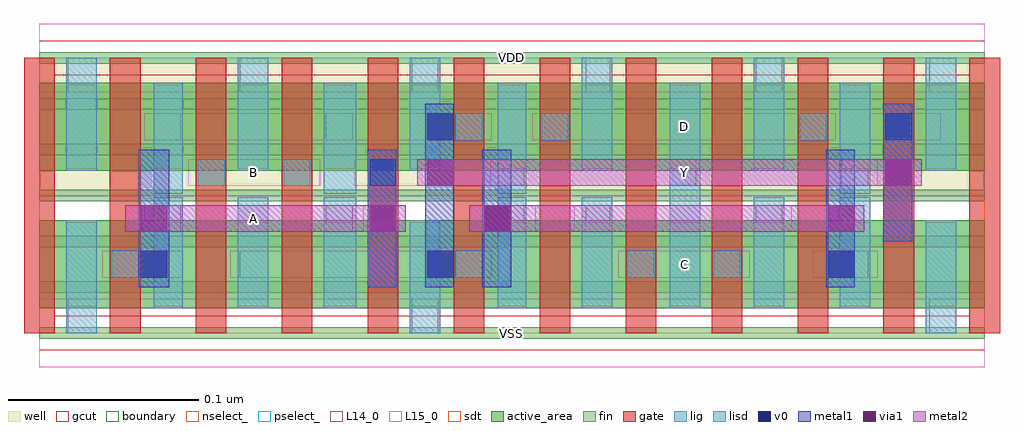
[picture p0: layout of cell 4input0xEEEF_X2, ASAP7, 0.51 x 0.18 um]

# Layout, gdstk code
import gdstk
lib = gdstk.Library(unit=1e-6, precision=1e-09)
def R(c, l, rs):  # rectangles x0, y0, x1, y1
    for r in rs: c.add(gdstk.rectangle(r[:2], r[2:], *l))
def A(c, l, x, y, w, h, nx, ny, dx, dy):  # array of equal rectangles
    R(c, l, [(x+i*dx, y+j*dy, x+i*dx+w, y+j*dy+h) for i in range(nx) for j in range(ny)])
def P(c, l, *ps):  # polygons
    for p in ps: c.add(gdstk.Polygon(p, *l))
well = (1, 0)
fin = (2, 0)
gate = (7, 0)
gcut = (10, 0)
active_area = (11, 0)
nselect_ = (12, 0)
pselect_ = (13, 0)
L14_0 = (14, 0)
L15_0 = (15, 0)
lig = (16, 0)
lisd = (17, 0)
v0 = (18, 0)
metal1 = (19, 0)
metal2 = (20, 0)
via1 = (21, 0)
sdt = (88, 0)
boundary = (100, 0)

c_4input0xeeef_x2 = lib.new_cell('4input0xEEEF_X2')
R(c_4input0xeeef_x2, well, [(0,0.072,0.495,0.144)])
A(c_4input0xeeef_x2, fin, 0, -0.003, 0.495, 0.006, 1, 7, 0, 0.024)
A(c_4input0xeeef_x2, gate, -0.008, 0, 0.016, 0.144, 12, 1, 0.045, 0)
P(c_4input0xeeef_x2, gcut, [(0,-0.009),(0,0),(-0.008,0),(-0.008,0.135),(0.008,0.135),(0.008,0.009),(0.487,0.009),(0.487,0.135),(-0.008,0.135),(-0.008,0.144),(0,0.144),(0,0.153),(0.495,0.153),(0.495,0.144),(0.503,0.144),(0.503,0),(0.495,0),(0.495,-0.009)])
R(c_4input0xeeef_x2, active_area, [(0,0.013,0.495,0.059), (0,0.085,0.495,0.131)])
R(c_4input0xeeef_x2, nselect_, [(0,0,0.495,0.072)])
R(c_4input0xeeef_x2, pselect_, [(0,0.072,0.495,0.144)])
A(c_4input0xeeef_x2, L14_0, 0.06, 0.053, 0.014, 0.014, 3, 1, 0.09, 0)
A(c_4input0xeeef_x2, L14_0, 0.083, 0.077, 0.014, 0.014, 3, 1, 0.045, 0)
A(c_4input0xeeef_x2, L14_0, 0.24, 0.077, 0.014, 0.014, 3, 1, 0.09, 0)
R(c_4input0xeeef_x2, L14_0, [(0.015,0,0.03,0.018), (0.195,0,0.209,0.018), (0.466,0,0.48,0.018), (0.038,0.029,0.052,0.043), (0.105,0.029,0.12,0.043), (0.218,0.029,0.232,0.043), (0.308,0.029,0.322,0.043), (0.353,0.029,0.367,0.043), (0.42,0.029,0.434,0.043), (0.286,0.053,0.299,0.067), (0.375,0.053,0.389,0.067), (0.06,0.101,0.074,0.115), (0.15,0.101,0.164,0.115), (0.218,0.101,0.232,0.115), (0.263,0.101,0.277,0.115), (0.398,0.101,0.412,0.115), (0.443,0.101,0.457,0.115), (0.015,0.126,0.03,0.144), (0.105,0.126,0.12,0.144), (0.195,0.126,0.209,0.144), (0.286,0.126,0.299,0.144), (0.375,0.126,0.389,0.144), (0.466,0.126,0.48,0.144)])
R(c_4input0xeeef_x2, L15_0, [(0,-0.018,0.495,0.018), (0.033,0.029,0.075,0.043), (0.1,0.029,0.237,0.043), (0.303,0.029,0.372,0.043), (0.405,0.029,0.439,0.043), (0.055,0.053,0.17,0.067), (0.225,0.053,0.26,0.067), (0.28,0.053,0.394,0.067), (0.078,0.077,0.147,0.091), (0.165,0.077,0.202,0.091), (0.236,0.077,0.439,0.091), (0.055,0.101,0.237,0.115), (0.258,0.101,0.417,0.115), (0.435,0.101,0.472,0.115), (0,0.126,0.495,0.162)])
A(c_4input0xeeef_x2, lig, 0.083, 0.077, 0.014, 0.014, 3, 1, 0.045, 0)
R(c_4input0xeeef_x2, lig, [(0.038,0.029,0.052,0.043), (0.218,0.029,0.232,0.043), (0.308,0.029,0.322,0.043), (0.353,0.029,0.367,0.043), (0.218,0.101,0.232,0.115), (0.263,0.101,0.277,0.115), (0.398,0.101,0.412,0.115), (0.443,0.101,0.457,0.115)])
A(c_4input0xeeef_x2, lisd, 0.014, 0.085, 0.016, 0.059, 6, 1, 0.09, 0)
R(c_4input0xeeef_x2, lisd, [(0.014,0,0.03,0.059), (0.194,0,0.21,0.059), (0.464,0,0.48,0.059), (0.06,0.013,0.075,0.071), (0.104,0.013,0.12,0.071), (0.149,0.013,0.166,0.071), (0.24,0.013,0.255,0.071), (0.284,0.013,0.3,0.071), (0.33,0.013,0.346,0.131), (0.374,0.013,0.39,0.071), (0.419,0.013,0.435,0.071), (0.06,0.073,0.075,0.131), (0.149,0.073,0.166,0.131), (0.24,0.073,0.255,0.131), (0.419,0.073,0.435,0.131)])
R(c_4input0xeeef_x2, v0, [(0.053,0.029,0.067,0.043), (0.203,0.029,0.217,0.043), (0.413,0.029,0.427,0.043), (0.233,0.053,0.247,0.067), (0.173,0.077,0.187,0.091), (0.203,0.101,0.217,0.115), (0.443,0.101,0.457,0.115)])
R(c_4input0xeeef_x2, metal1, [(0.052,0.024,0.068,0.096), (0.172,0.024,0.187,0.096), (0.202,0.024,0.217,0.12), (0.232,0.024,0.247,0.096), (0.412,0.024,0.427,0.096), (0.442,0.048,0.457,0.12)])
R(c_4input0xeeef_x2, metal2, [(0.045,0.053,0.192,0.067), (0.225,0.053,0.432,0.067), (0.198,0.077,0.462,0.091)])
R(c_4input0xeeef_x2, via1, [(0.053,0.053,0.067,0.067), (0.173,0.053,0.187,0.067), (0.233,0.053,0.247,0.067), (0.413,0.053,0.427,0.067), (0.203,0.077,0.217,0.091), (0.443,0.077,0.457,0.091)])
A(c_4input0xeeef_x2, sdt, 0.014, 0.014, 0.016, 0.044, 4, 2, 0.09, 0.072)
A(c_4input0xeeef_x2, sdt, 0.374, 0.014, 0.016, 0.044, 3, 2, 0.045, 0.072)
R(c_4input0xeeef_x2, sdt, [(0.06,0.014,0.075,0.058), (0.149,0.014,0.166,0.058), (0.24,0.014,0.255,0.058), (0.33,0.014,0.346,0.058), (0.06,0.086,0.075,0.13), (0.149,0.086,0.166,0.13), (0.24,0.086,0.255,0.13), (0.33,0.086,0.346,0.13)])
R(c_4input0xeeef_x2, boundary, [(0,0,0.495,0.144)])
c_4input0xeeef_x2.add(gdstk.Label('C', (0.338,0.036), layer=15, texttype=251))
c_4input0xeeef_x2.add(gdstk.Label('VSS', (0.247,0), layer=15, texttype=251))
c_4input0xeeef_x2.add(gdstk.Label('VDD', (0.247,0.144), layer=15, texttype=251))
c_4input0xeeef_x2.add(gdstk.Label('VSS', (0.247,0), layer=15, texttype=251))
c_4input0xeeef_x2.add(gdstk.Label('VDD', (0.247,0.144), layer=15, texttype=251))
c_4input0xeeef_x2.add(gdstk.Label('Y', (0.338,0.084), layer=15, texttype=251))
c_4input0xeeef_x2.add(gdstk.Label('VSS', (0.247,0), layer=15, texttype=251))
c_4input0xeeef_x2.add(gdstk.Label('VDD', (0.247,0.144), layer=15, texttype=251))
c_4input0xeeef_x2.add(gdstk.Label('D', (0.338,0.108), layer=15, texttype=251))
c_4input0xeeef_x2.add(gdstk.Label('VSS', (0.247,0), layer=15, texttype=251))
c_4input0xeeef_x2.add(gdstk.Label('VDD', (0.247,0.144), layer=15, texttype=251))
c_4input0xeeef_x2.add(gdstk.Label('B', (0.112,0.084), layer=15, texttype=251))
c_4input0xeeef_x2.add(gdstk.Label('VSS', (0.247,0), layer=15, texttype=251))
c_4input0xeeef_x2.add(gdstk.Label('VDD', (0.247,0.144), layer=15, texttype=251))
c_4input0xeeef_x2.add(gdstk.Label('VSS', (0.247,0), layer=3, texttype=251))
c_4input0xeeef_x2.add(gdstk.Label('VSS', (0.247,0), layer=3, texttype=251))
c_4input0xeeef_x2.add(gdstk.Label('VSS', (0.247,0), layer=3, texttype=251))
c_4input0xeeef_x2.add(gdstk.Label('VSS', (0.247,0), layer=3, texttype=251))
c_4input0xeeef_x2.add(gdstk.Label('VSS', (0.247,0), layer=3, texttype=251))
c_4input0xeeef_x2.add(gdstk.Label('VDD', (0.247,0.144), layer=1, texttype=251))
c_4input0xeeef_x2.add(gdstk.Label('VDD', (0.247,0.144), layer=1, texttype=251))
c_4input0xeeef_x2.add(gdstk.Label('VDD', (0.247,0.144), layer=1, texttype=251))
c_4input0xeeef_x2.add(gdstk.Label('VDD', (0.247,0.144), layer=1, texttype=251))
c_4input0xeeef_x2.add(gdstk.Label('VDD', (0.247,0.144), layer=1, texttype=251))
c_4input0xeeef_x2.add(gdstk.Label('A', (0.112,0.06), layer=20, texttype=251))

lib.write_gds('4input0xEEEF_X2.gds')
